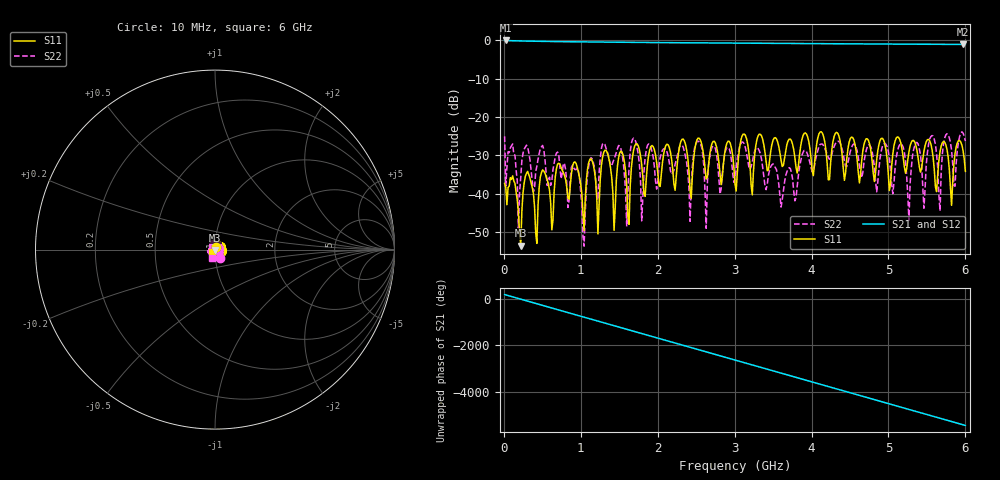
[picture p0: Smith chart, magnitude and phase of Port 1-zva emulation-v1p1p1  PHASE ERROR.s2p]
! RsaToolbox (C) 2014 Rohde & Schwarz America
! Number of points: 401
! Number of ports: 2
! Balanced ports?: No
# Hz S RI R 50
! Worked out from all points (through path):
!   401 points, 10 MHz to 6 GHz, reference 50 ohm
!   highest |S21| = -0.06 dB at 24.98 MHz (marker M1); lowest = -1.1 dB at 5.97 GHz (marker M2)
!   lowest |S11| = -53.6 dB at 219.7 MHz (marker M3), VSWR 1.00, Z = 50.1 - j0.203 ohm
!   |S11| at or under -10 dB: start of sweep to end of sweep
!   |S22| runs from -53.7 to -23.9 dB; largest |S21 - S12| = 0
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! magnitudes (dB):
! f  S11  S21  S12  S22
! 10 MHz  -37.4  -0.1  -0.1  -25.1
! 24.98 MHz  -38.4  -0.1  -0.1  -38.0
! 219.7 MHz  -53.6  -0.2  -0.2  -35.8
! 489.2 MHz  -34.6  -0.3  -0.3  -27.8
! 1.013 GHz  -40.0  -0.4  -0.4  -42.8
! 1.298 GHz  -29.3  -0.5  -0.5  -26.8
! 1.433 GHz  -49.6  -0.5  -0.5  -31.1
! 1.522 GHz  -29.0  -0.5  -0.5  -28.4
! 1.597 GHz  -37.9  -0.5  -0.5  -48.6
! 1.717 GHz  -27.0  -0.6  -0.6  -26.6
! 1.792 GHz  -32.4  -0.6  -0.6  -47.1
! 2.017 GHz  -37.7  -0.6  -0.6  -32.9
! 3.005 GHz  -37.5  -0.8  -0.8  -36.3
! 3.125 GHz  -24.5  -0.8  -0.8  -27.0
! 3.604 GHz  -31.3  -0.8  -0.8  -43.5
! 4.008 GHz  -34.1  -0.9  -0.9  -34.3
! 5.012 GHz  -39.2  -1.0  -1.0  -30.7
! 5.461 GHz  -29.0  -1.0  -1.0  -43.8
! 5.566 GHz  -28.4  -1.1  -1.1  -24.9
! 5.671 GHz  -29.1  -1.1  -1.1  -44.5
! 5.97 GHz  -28.8  -1.1  -1.1  -24.2
! 6 GHz  -34.2  -1.1  -1.1  -26.3
